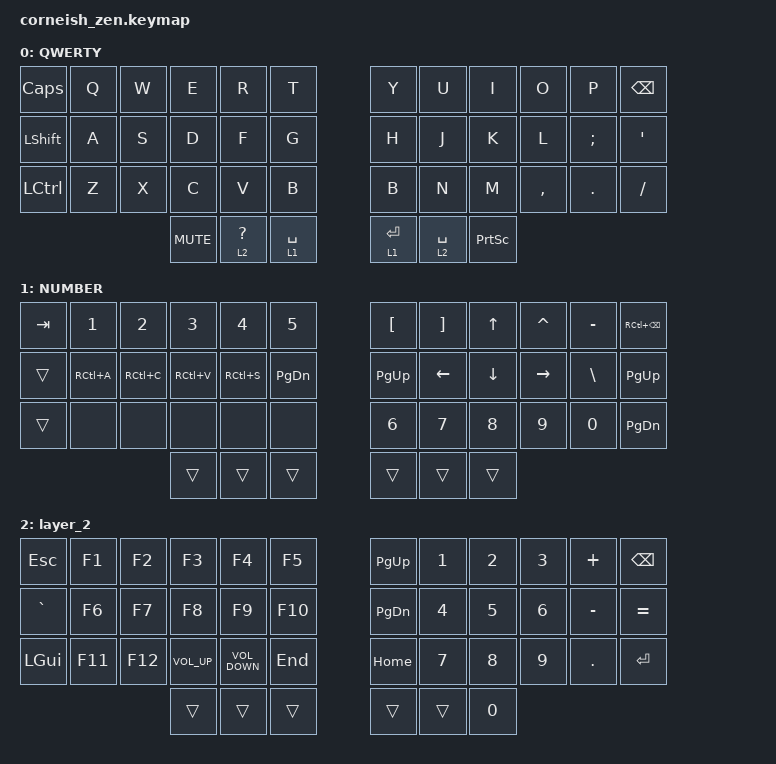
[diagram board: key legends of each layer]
/*
 * Copyright (c) 2020 The ZMK Contributors
 *
 * SPDX-License-Identifier: MIT
 */

#include <behaviors.dtsi>
#include <dt-bindings/zmk/keys.h>

/ {
    chosen {
        zmk,matrix_transform = &default_transform;

        // zmk,matrix_transform = &five_column_transform;
    };
};

/ {
    behaviors {
        td0: td0 {
            compatible = "zmk,behavior-tap-dance";
            label = "TD0";
            #binding-cells = <0>;
            bindings = <&kp LEFT_SHIFT>, <&kp CAPS>;
        };
    };

    keymap {
        compatible = "zmk,keymap";

        default_layer {
            display-name = "QWERTY";

            // --------------------------------------------------------------------------------
            // |  TAB |  Q  |  W  |  E  |  R  |  T  |   |  Y  |  U   |  I  |  O  |  P  | BKSP |
            // | CTRL |  A  |  S  |  D  |  F  |  G  |   |  H  |  J   |  K  |  L  |  ;  |  '   | 
            // | SHFT |  Z  |  X  |  C  |  V  |  B  |   |  N  |  M   |  ,  |  .  |  /  | ESC  |
            //                    | GUI | LWR | SPC |   | ENT | RSE  | ALT |

            bindings = <
&kp CAPSLOCK      &kp Q  &kp W  &kp E       &kp R           &kp T          &kp Y        &kp U        &kp I            &kp O      &kp P       &kp BSPC
&kp LEFT_SHIFT    &kp A  &kp S  &kp D       &kp F           &kp G          &kp H        &kp J        &kp K            &kp L      &kp SEMI    &kp SQT
&kp LEFT_CONTROL  &kp Z  &kp X  &kp C       &kp V           &kp B          &kp B        &kp N        &kp M            &kp COMMA  &kp PERIOD  &kp SLASH
                                &kp K_MUTE  &lt 2 QUESTION  &lt 1 SPACE    &lt 1 ENTER  &lt 2 SPACE  &kp PRINTSCREEN
            >;
        };

        lower_layer {
            display-name = "NUMBER";

            // -----------------------------------------------------------------------------------------
            // |  TAB |  1  |  2  |  3  |  4  |  5  |   |  6  |  7  |  8  |  9  |  0  | BKSP |
            // | BTCLR| BT1 | BT2 | BT3 | BT4 | BT5 |   | LFT | DWN |  UP | RGT |     |      |
            // | SHFT |     |     |     |     |     |   |     |     |     |     |     |      |
            //                    | GUI |     | SPC |   | ENT |     | ALT |

            bindings = <
&kp TAB  &kp N1     &kp N2     &kp N3     &kp N4     &kp N5           &kp LEFT_BRACKET  &kp RBKT        &kp UP_ARROW  &kp CARET  &kp MINUS  &kp RC(BSPC)
&trans   &kp RC(A)  &kp RC(C)  &kp RC(V)  &kp RC(S)  &kp PAGE_DOWN    &kp PAGE_UP       &kp LEFT_ARROW  &kp DOWN      &kp RIGHT  &kp BSLH   &kp PG_UP
&trans   &none      &none      &none      &none      &none            &kp N6            &kp N7          &kp N8        &kp N9     &kp N0     &kp PG_DN
                               &trans     &trans     &trans           &trans            &trans          &trans
            >;
        };

        layer_2 {
            bindings = <
&kp ESC    &kp F1   &kp F2   &kp F3        &kp F4             &kp F5     &kp PG_UP      &kp N1  &kp N2        &kp N3  &kp PLUS    &kp BACKSPACE
&kp GRAVE  &kp F6   &kp F7   &kp F8        &kp F9             &kp F10    &kp PAGE_DOWN  &kp N4  &kp N5        &kp N6  &kp MINUS   &kp EQUAL
&kp LGUI   &kp F11  &kp F12  &kp C_VOL_UP  &kp C_VOLUME_DOWN  &kp END    &kp HOME       &kp N7  &kp N8        &kp N9  &kp PERIOD  &kp ENTER
                             &trans        &trans             &trans     &trans         &trans  &kp NUMBER_0
            >;
        };
    };
};
